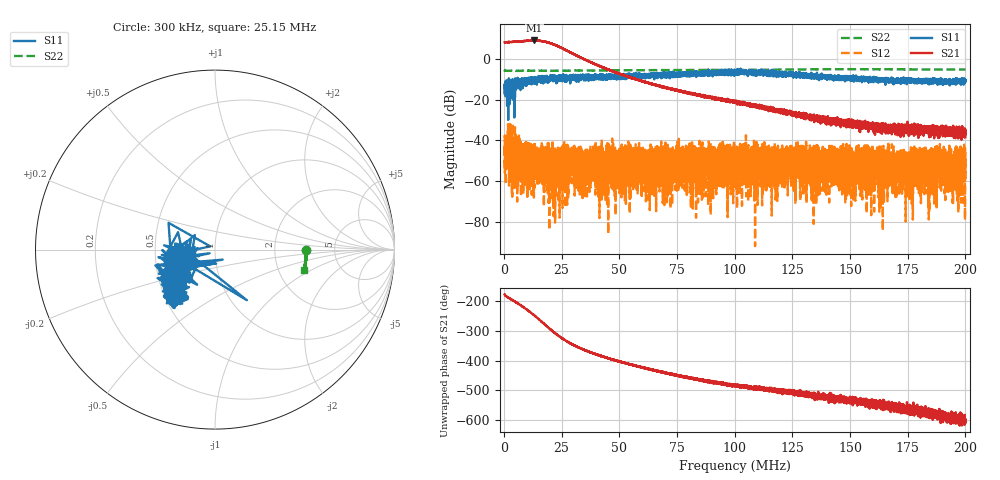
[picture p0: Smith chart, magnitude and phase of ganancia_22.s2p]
# Hz S DB R 50
! CMT, M5065, 19127446, 24.2.4/2
! Date: 11/8/2024 5:06:30 PM
! Data: Format (Calibration Info)
! Freq	S11:dB/Ang(F2)	S21:dB/Ang(F2)	S12:dB/Ang(F2)	S22:dB/Ang(F2)
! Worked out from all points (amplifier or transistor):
!   9000 points, 300 kHz to 200 MHz, reference 50 ohm
!   highest |S21| = 9.0 dB at 13.17 MHz (marker M1)
!   |S21| within 3 dB of that: start of sweep to 23.64 MHz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
!   unconditionally stable (mu >= 1): start of sweep to end of sweep
!   at 33.59 MHz: K = 92.40, MAG = 2.4 dB, |S12| = -49.6 dB
!   at 100.2 MHz: K = 2401.28, MAG = -18.5 dB, |S12| = -57.7 dB
!   at 200 MHz: K = 7335.23, MAG = -36.5 dB, |S12| = -48.7 dB
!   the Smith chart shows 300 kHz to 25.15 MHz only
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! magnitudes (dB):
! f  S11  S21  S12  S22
! 300 kHz  -12.8  8.1  -53.8  -5.9
! 1.654 MHz  -11.6  8.2  -46.8  -5.9
! 13.17 MHz  -10.2  9.0  -50.7  -5.9
! 33.59 MHz  -9.2  0.5  -49.6  -5.8
! 66.87 MHz  -7.6  -13.2  -62.2  -5.5
! 84.8 MHz  -7.4  -18.1  -40.2  -5.4
! 92.06 MHz  -6.6  -19.4  -50.1  -5.5
! 100.2 MHz  -6.7  -21.0  -57.7  -5.4
! 103.3 MHz  -6.7  -22.3  -45.4  -5.4
! 119.1 MHz  -7.5  -26.0  -58.8  -5.3
! 123.4 MHz  -8.4  -26.0  -49.5  -5.3
! 125.4 MHz  -7.9  -27.5  -49.2  -5.2
! 127.4 MHz  -7.1  -26.5  -47.7  -5.2
! 133.4 MHz  -8.6  -28.2  -69.4  -5.2
! 139.2 MHz  -8.6  -29.7  -54.1  -5.1
! 140.7 MHz  -9.3  -29.4  -46.9  -5.1
! 149.5 MHz  -9.9  -31.1  -56.2  -5.1
! 153.9 MHz  -10.7  -32.2  -51.3  -5.1
! 163.2 MHz  -10.2  -32.9  -51.5  -5.1
! 166.7 MHz  -10.6  -32.4  -55.5  -5.1
! 176.4 MHz  -11.3  -35.2  -45.4  -5.2
! 200 MHz  -10.5  -38.5  -48.7  -5.3
